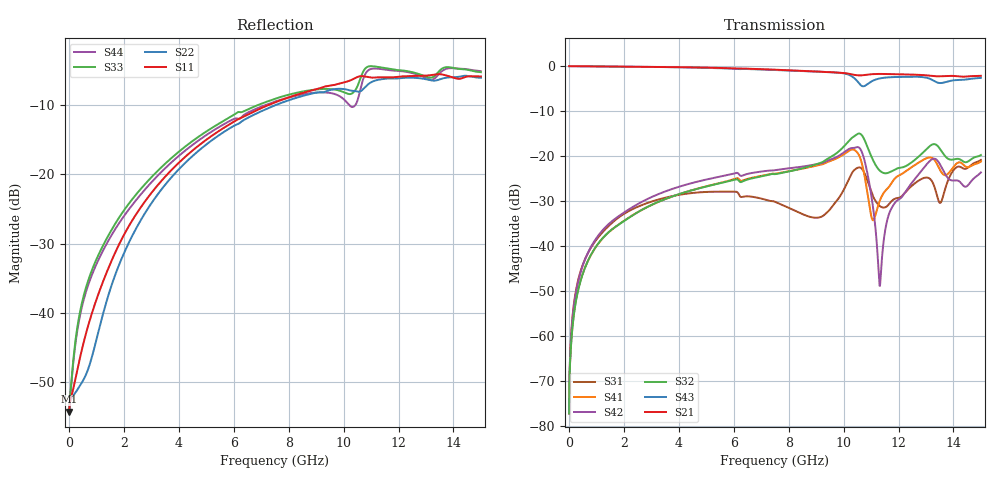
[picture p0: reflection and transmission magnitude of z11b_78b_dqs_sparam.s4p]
![Disclaimer] This software code/ model/ data and all associated documentation, comments
!    or other information (collectively "Software") is provided
!    "AS IS" without warranty of any kind. MICRON TECHNOLOGY, INC.
!   ("MTI") EXPRESSLY DISCLAIMS ALL WARRANTIES EXPRESS OR IMPLIED,
!    INCLUDING BUT NOT LIMITED TO, NONINFRINGEMENT OF THIRD PARTY
!   RIGHTS, AND ANY IMPLIED WARRANTIES OF MERCHANTABILITY OR FITNESS
!    FOR ANY PARTICULAR PURPOSE. MTI DOES NOT WARRANT THAT THE
!    SOFTWARE WILL MEET YOUR REQUIREMENTS, OR THAT THE OPERATION OF
!    THE SOFTWARE WILL BE UNINTERRUPTED OR ERROR-FREE. FURTHERMORE,
!    MTI DOES NOT MAKE ANY REPRESENTATIONS REGARDING THE USE OR THE
!    RESULTS OF THE USE OF THE SOFTWARE IN TERMS OF ITS CORRECTNESS,
!    ACCURACY, RELIABILITY, OR OTHERWISE. THE ENTIRE RISK ARISING OUT
!    OF USE OR PERFORMANCE OF THE SOFTWARE REMAINS WITH YOU. IN NO
!    EVENT SHALL MTI, ITS AFFILIATED COMPANIES OR THEIR SUPPLIERS BE
!    LIABLE FOR ANY DIRECT, INDIRECT, CONSEQUENTIAL, INCIDENTAL, OR
!    SPECIAL DAMAGES (INCLUDING, WITHOUT LIMITATION, DAMAGES FOR LOSS
!    OF PROFITS, BUSINESS INTERRUPTION, OR LOSS OF INFORMATION)
!    ARISING OUT OF YOUR USE OF OR INABILITY TO USE THE SOFTWARE,
!    EVEN IF MTI HAS BEEN ADVISED OF THE POSSIBILITY OF SUCH DAMAGES.
!    Because some jurisdictions prohibit the exclusion or limitation
!    of liability for consequential or incidental damages, the above
!    limitation may not apply to you.
!    Copyright 2019 Micron Technology, Inc. All rights reserved.
! Single-ended  S-parameters
!NUMBER OF PORTS = 4
!  PORT#  PORT_NAME  NET_NAME
! PORT19:  DQS-C.BGA.VDDQ_VSS DQS-C
! PORT20:  DQS-C.Z11B_DIE.VDDQ_VSS DQS-C
! PORT21:  DQS-T.BGA.VDDQ_VSS DQS-T
! PORT22:  DQS-T.Z11B_DIE.VDDQ_VSS DQS-T
# HZ S  RI R 5.000000e+001
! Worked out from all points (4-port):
!   1701 points, 10 Hz to 15 GHz, reference 50 ohm
!   strongest paths, dB at 10 Hz, 2.25 GHz, 6.5 GHz, 10.75 GHz, 15 GHz:
!     S21: 0.0, -0.1, -0.6, -2.0, -2.2
!     S43: 0.0, -0.1, -0.7, -4.5, -2.6
!     S32: -77.3, -33.5, -25.2, -16.3, -19.8
!     S42: -77.3, -31.6, -24.0, -20.7, -23.7
!     S41: -77.3, -33.4, -25.1, -24.0, -21.2
!     S31: -77.3, -32.0, -29.0, -23.7, -20.9
!   lowest |S11| = -54.2 dB at 10 Hz (marker M1), VSWR 1.00, Z = 50.2 + j5.89e-08 ohm
!   |S11| at or under -10 dB: start of sweep to 7.276 GHz
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10  0.00194 5.86e-10  0.9981 -2.84e-09  0.000137 4.38e-10  -0.000137 -4.07e-10
    0.9981 -2.84e-09  0.00194 5.9e-10  -0.000137 -4.05e-10  0.000137 4.3e-10
    0.000137 4.38e-10  -0.000137 -4.05e-10  0.00189 7.68e-10  0.9981 -2.84e-09
    -0.000137 -4.07e-10  0.000137 4.3e-10  0.9981 -2.84e-09  0.00189 7.69e-10
4.4e8  0.00481 0.00194  0.9912 -0.0957  0.00112 0.00539  -0.000792 -0.00428
       0.9912 -0.0957  0.00171 0.00257  -0.000681 -0.00425  0.000784 0.00528
       0.00112 0.00539  -0.000681 -0.00425  0.00564 0.00964  0.9913 -0.096
       -0.000792 -0.00428  0.000784 0.00528  0.9913 -0.096  0.00256 0.0102
2.41e9  0.0479 -0.0155  0.8573 -0.4861  0.0154 0.0216  -0.0134 -0.0185
        0.8573 -0.4861  -0.0253 0.0304  -0.0122 -0.0192  0.0147 0.024
        0.0154 0.0216  -0.0122 -0.0192  0.0676 0.0192  0.8556 -0.4872
        -0.0134 -0.0185  0.0147 0.024  0.8556 -0.4872  -0.00472 0.0638
1.052e10  -0.0904 -0.4956  -0.4713 -0.6334  0.0657 -0.0343  0.0279 0.1034
          -0.4713 -0.6334  0.3424 0.1944  -0.1063 0.141  -0.1099 -0.0606
          0.0657 -0.0343  -0.1063 0.141  0.1426 -0.4153  -0.5004 -0.4424
          0.0279 0.1034  -0.1099 -0.0606  -0.5004 -0.4424  0.2246 0.2656
1.132e10  -0.1655 -0.4719  -0.5678 -0.5894  -0.0258 -0.00996  -0.0196 0.0252
          -0.5678 -0.5894  0.4478 0.1785  -0.0131 0.0673  -0.0034 -0.00112
          -0.0258 -0.00996  -0.0131 0.0673  -0.0551 -0.5882  -0.4726 -0.5554
          -0.0196 0.0252  -0.0034 -0.00112  -0.4726 -0.5554  0.5311 0.2197
1.312e10  -0.2568 -0.4485  -0.7147 -0.3215  0.0155 0.0542  -0.0184 0.0945
          -0.7147 -0.3215  0.4771 -0.0348  -0.0607 0.1121  -0.0862 -0.0102
          0.0155 0.0542  -0.0607 0.1121  -0.1711 -0.4676  -0.677 -0.2643
          -0.0184 0.0945  -0.0862 -0.0102  -0.677 -0.2643  0.4827 -0.00502
1.5e10  -0.3286 -0.3864  -0.7768 -0.0674  0.0141 0.0892  -0.0185 0.0848
        -0.7768 -0.0674  0.4293 -0.2479  -0.0381 0.0951  -0.0617 0.0223
        0.0141 0.0892  -0.0381 0.0951  -0.3293 -0.4334  -0.7313 -0.1052
        -0.0185 0.0848  -0.0617 0.0223  -0.7313 -0.1052  0.5006 -0.2347
